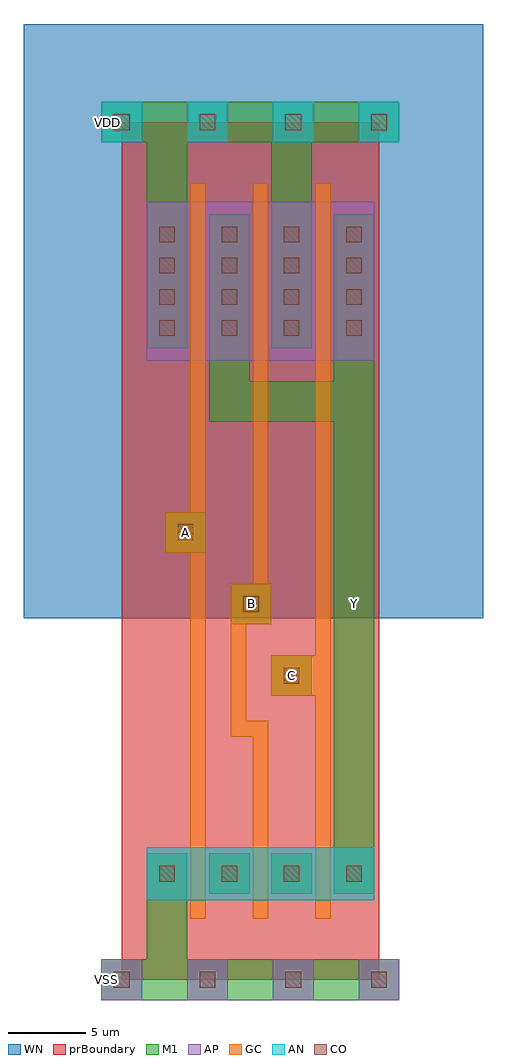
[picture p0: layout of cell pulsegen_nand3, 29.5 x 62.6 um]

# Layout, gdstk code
import gdstk
lib = gdstk.Library(unit=1e-6, precision=1e-07)
def R(c, l, rs):  # rectangles x0, y0, x1, y1
    for r in rs: c.add(gdstk.rectangle(r[:2], r[2:], *l))
def A(c, l, x, y, w, h, nx, ny, dx, dy):  # array of equal rectangles
    R(c, l, [(x+i*dx, y+j*dy, x+i*dx+w, y+j*dy+h) for i in range(nx) for j in range(ny)])
def P(c, l, *ps):  # polygons
    for p in ps: c.add(gdstk.Polygon(p, *l))
AP = (3, 1)
AN = (3, 2)
GC = (8, 1)
CO = (11, 0)
M1 = (13, 0)
WN = (140, 0)
prBoundary = (235, 0)

fet_p = lib.new_cell('fet_p')
R(fet_p, AP, [(-7.3,-5.1,7.3,5.1)])
A(fet_p, CO, -6.5, -3.5, 1, 1, 4, 4, 4, 2)
A(fet_p, M1, -7.3, -4.3, 2.6, 8.6, 4, 1, 4, 0)
fet_p.add(gdstk.FlexPath([(0,-6.3),(0,6.3)], 1, ends="flush", simple_path=True, layer=8, datatype=1))  # GC
fet_p.add(gdstk.FlexPath([(-4,-6.3),(-4,6.3)], 1, ends="flush", simple_path=True, layer=8, datatype=1))  # GC
fet_p.add(gdstk.FlexPath([(4,-6.3),(4,6.3)], 1, ends="flush", simple_path=True, layer=8, datatype=1))  # GC

fet_n = lib.new_cell('fet_n')
R(fet_n, AN, [(-7.3,-1.7,7.3,1.7)])
A(fet_n, CO, -6.5, -0.5, 1, 1, 4, 1, 4, 0)
A(fet_n, M1, -7.3, -1.3, 2.6, 2.6, 4, 1, 4, 0)
fet_n.add(gdstk.FlexPath([(0,-2.9),(0,2.9)], 1, ends="flush", simple_path=True, layer=8, datatype=1))  # GC
fet_n.add(gdstk.FlexPath([(-4,-2.9),(-4,2.9)], 1, ends="flush", simple_path=True, layer=8, datatype=1))  # GC
fet_n.add(gdstk.FlexPath([(4,-2.9),(4,2.9)], 1, ends="flush", simple_path=True, layer=8, datatype=1))  # GC

cont_g = lib.new_cell('cont_g')
R(cont_g, GC, [(-1.3,-1.3,1.3,1.3)])
R(cont_g, CO, [(-0.5,-0.5,0.5,0.5)])
R(cont_g, M1, [(-1.3,-1.3,1.3,1.3)])

cont_p = lib.new_cell('cont_p')
R(cont_p, AP, [(-1.3,-1.3,1.3,1.3)])
R(cont_p, CO, [(-0.5,-0.5,0.5,0.5)])
R(cont_p, M1, [(-1.3,-1.3,1.3,1.3)])

cont_n = lib.new_cell('cont_n')
R(cont_n, AN, [(-1.3,-1.3,1.3,1.3)])
R(cont_n, CO, [(-0.5,-0.5,0.5,0.5)])
R(cont_n, M1, [(-1.3,-1.3,1.3,1.3)])

pulsegen_nand3 = lib.new_cell('pulsegen_nand3')
R(pulsegen_nand3, GC, [(4.4,9.7,5.4,38.5)])
P(pulsegen_nand3, GC, [(12.4,9.7),(12.4,18.2),(12.2,18.2),(12.2,20.8),(12.4,20.8),(12.4,38.5),(13.4,38.5),(13.4,9.7)],
  [(8.4,9.7),(8.4,15.6),(7,15.6),(7,23.8),(8.4,23.8),(8.4,38.5),(9.4,38.5),(9.4,22.8),(8,22.8),(8,16.6),(9.4,16.6),(9.4,9.7)])
R(pulsegen_nand3, M1, [(-1.3,-1.3,17.8,1.3), (1.6,1.3,4.2,5.5), (1.6,49.1,4.2,53.7), (9.6,49.1,12.2,53.7), (-1.3,53.7,17.8,56.3)])
P(pulsegen_nand3, M1, [(13.6,8.1),(13.6,35.8),(5.6,35.8),(5.6,40.5),(8.2,40.5),(8.2,38.4),(13.6,38.4),(13.6,40.5),(16.2,40.5),(16.2,8.1)])
R(pulsegen_nand3, WN, [(-6.3,23.2,23.2,61.3)])
R(pulsegen_nand3, prBoundary, [(0,0,16.5,55)])
pulsegen_nand3.add(gdstk.Reference(fet_p, (8.9,44.8), x_reflection=True))
pulsegen_nand3.add(gdstk.Reference(fet_n, (8.9,6.8), x_reflection=True))
pulsegen_nand3.add(gdstk.Reference(cont_g, (4.1,28.7)))
pulsegen_nand3.add(gdstk.Reference(cont_g, (10.9,19.5)))
r = gdstk.Reference(cont_p, (0,0), x_reflection=True); r.repetition = gdstk.Repetition(4, 1, v1=(5.5,0), v2=(0,0)); pulsegen_nand3.add(r)
r = gdstk.Reference(cont_n, (0,55), x_reflection=True); r.repetition = gdstk.Repetition(4, 1, v1=(5.5,0), v2=(0,0)); pulsegen_nand3.add(r)
pulsegen_nand3.add(gdstk.Reference(cont_g, (8.3,24.1)))
pulsegen_nand3.add(gdstk.Label('VSS', (-1,0), layer=48, texttype=0))
pulsegen_nand3.add(gdstk.Label('VDD', (-0.9,55), layer=48, texttype=0))
pulsegen_nand3.add(gdstk.Label('C', (10.9,19.5), layer=48, texttype=0))
pulsegen_nand3.add(gdstk.Label('B', (8.3,24.1), layer=48, texttype=0))
pulsegen_nand3.add(gdstk.Label('A', (4.1,28.7), layer=48, texttype=0))
pulsegen_nand3.add(gdstk.Label('Y', (14.9,24.1), layer=48, texttype=0))

lib.write_gds('pulsegen_nand3.gds')
